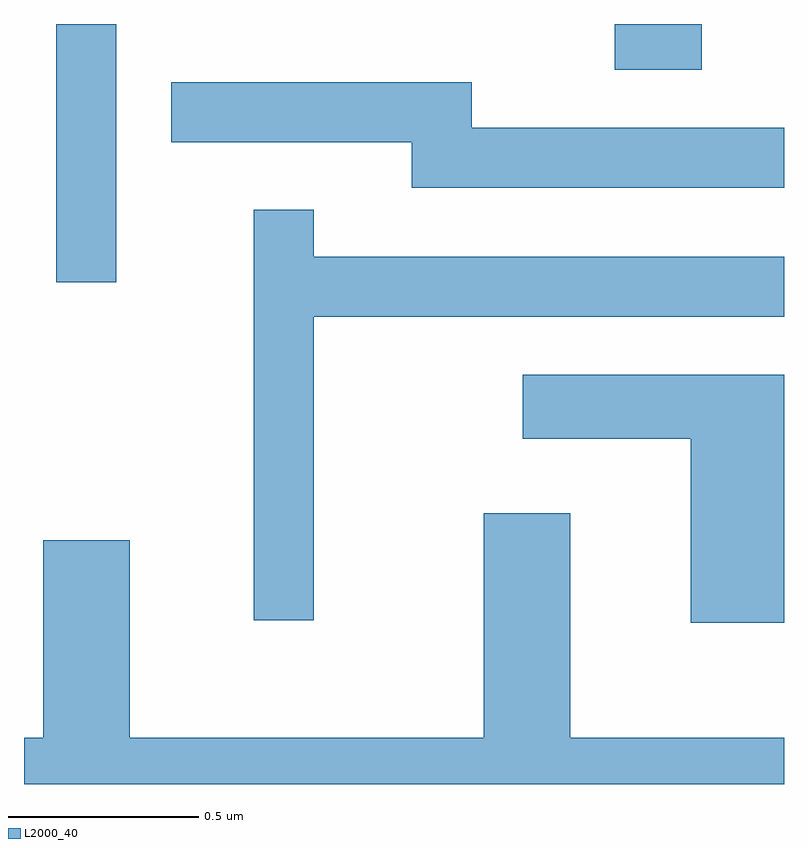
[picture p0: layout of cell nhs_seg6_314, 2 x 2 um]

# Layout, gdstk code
import gdstk
lib = gdstk.Library(unit=1e-6, precision=1e-09)
def R(c, l, rs):  # rectangles x0, y0, x1, y1
    for r in rs: c.add(gdstk.rectangle(r[:2], r[2:], *l))
def P(c, l, *ps):  # polygons
    for p in ps: c.add(gdstk.Polygon(p, *l))
L2000_40 = (2000, 40)

nhs_seg6_314 = lib.new_cell('nhs_seg6_314')
R(nhs_seg6_314, L2000_40, [(187.696,1571.483,187.854,1572.162), (189.166,1572.041,189.394,1572.162)])
P(nhs_seg6_314, L2000_40, [(189.611,1571.889),(188.789,1571.889),(188.789,1572.009),(187.998,1572.009),(187.998,1571.851),(188.631,1571.851),(188.631,1571.731),(189.611,1571.731)],
  [(188.374,1571.391),(189.611,1571.391),(189.611,1571.549),(188.374,1571.549),(188.374,1571.673),(188.216,1571.673),(188.216,1570.593),(188.374,1570.593)],
  [(189.611,1571.239),(188.923,1571.239),(188.923,1571.071),(189.366,1571.071),(189.366,1570.586),(189.611,1570.586)],
  [(189.611,1570.284),(189.049,1570.284),(189.049,1570.874),(188.821,1570.874),(188.821,1570.284),(187.889,1570.284),(187.889,1570.804),(187.661,1570.804),(187.661,1570.284),(187.611,1570.284),(187.611,1570.162),(189.611,1570.162)])

lib.write_gds('nhs_seg6_314.gds')
